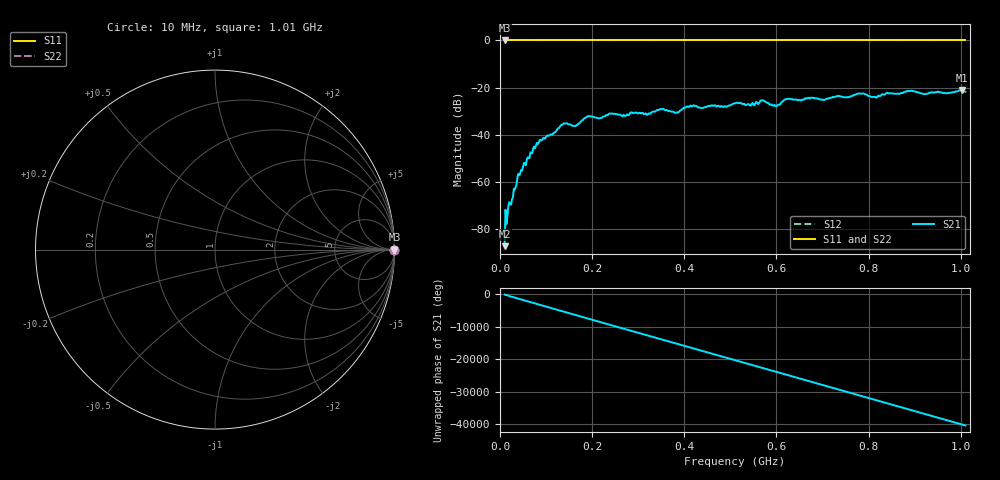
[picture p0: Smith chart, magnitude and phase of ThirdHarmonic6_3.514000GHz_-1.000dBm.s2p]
! 8/17/2025 11:30:38 AM
! C:\ANRITSUVNA\TEMP\TEMP.S2P
! CHANNEL.1
! TR.MEASUREMENT
! RAW.DATA
! RF.CORRECTION.OFF
! AVERAGING.OFF
! IF.BANDWIDTH: 5KHZ
! SWEEPTYPE:  FREQ.SWEEP(Linear)
! Reference Plane Port Info
! PORT:  PORT1  PORT2
! DISTANCE:  0  m  0  m
! TIME:  0  s  0  s
! PHASE.OFFSET:  0  deg.  0  deg.
! LOSS:  0  dB  0  dB
! REF.LOSS:  0  dB  0  dB
! REF.FREQ:  0  Hz  0  Hz
! Power Info
! POWER:  -20  dBm  -20  dBm
! EFF.POWER:  -20  dBm  -20  dBm
! SOURCE.ATTEN:  0  dB  0  dB
! TEST.ATTEN:  0  dB  0  dB
# GHZ S RI R 50.0
! FREQ.GHZ  S11RE  S11IM  S21RE  S21IM  S12RE  S12IM  S22RE  S22IM
!; PortSelection: Port_12
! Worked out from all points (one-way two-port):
!   501 points, 10 MHz to 1.01 GHz, reference 50 ohm
!   highest |S21| = -21.00 dB at 1.002 GHz (marker M1); lowest = -87.1 dB at 10 MHz (marker M2)
!   lowest |S11| = 0.0 dB at 10 MHz (marker M3)
!   |S11| at or under -10 dB: nowhere
!   |S22| runs from 0.0 to 0.0 dB; largest |S21 - S12| = 1.1
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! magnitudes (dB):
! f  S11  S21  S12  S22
! 10 MHz  0.0  -87.1  0.0  0.0
! 16 MHz  0.0  -74.6  0.0  0.0
! 42 MHz  0.0  -57.0  0.0  0.0
! 76 MHz  0.0  -45.7  0.0  0.0
! 136 MHz  0.0  -35.6  0.0  0.0
! 162 MHz  0.0  -36.2  0.0  0.0
! 178 MHz  0.0  -33.8  0.0  0.0
! 192 MHz  0.0  -32.0  0.0  0.0
! 322 MHz  0.0  -30.9  0.0  0.0
! 344 MHz  0.0  -29.4  0.0  0.0
! 384 MHz  0.0  -30.5  0.0  0.0
! 416 MHz  0.0  -27.9  0.0  0.0
! 510 MHz  0.0  -26.6  0.0  0.0
! 570 MHz  0.0  -25.3  0.0  0.0
! 598 MHz  0.0  -27.8  0.0  0.0
! 622 MHz  0.0  -24.8  0.0  0.0
! 678 MHz  0.0  -24.3  0.0  0.0
! 784 MHz  0.0  -22.6  0.0  0.0
! 814 MHz  0.0  -23.9  0.0  0.0
! 844 MHz  0.0  -22.4  0.0  0.0
! 1.002 GHz  0.0  -21.0  0.0  0.0
! 1.01 GHz  0.0  -21.7  0.0  0.0
